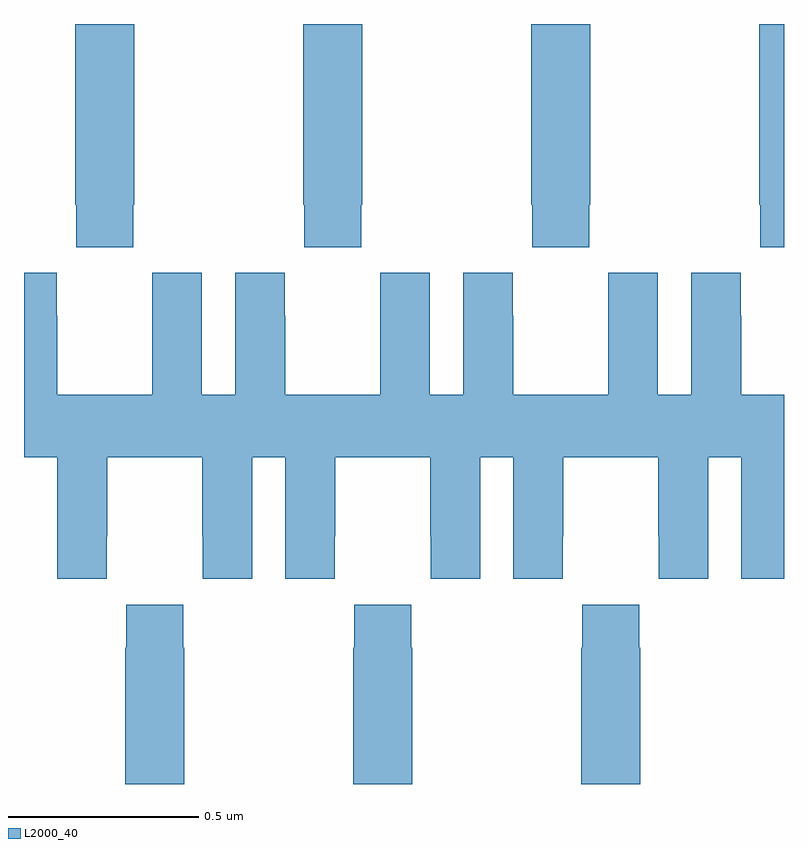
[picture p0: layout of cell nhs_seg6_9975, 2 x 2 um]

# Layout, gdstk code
import gdstk
lib = gdstk.Library(unit=1e-6, precision=1e-09)
def P(c, l, *ps):  # polygons
    for p in ps: c.add(gdstk.Polygon(p, *l))
L2000_40 = (2000, 40)

nhs_seg6_9975 = lib.new_cell('nhs_seg6_9975')
P(nhs_seg6_9975, L2000_40, [(241.287,924.025),(241.29,924.025),(241.29,924.5),(241.135,924.5),(241.135,924.025),(241.137,924.025),(241.137,923.913),(241.287,923.913)],
  [(243,924.5),(242.935,924.5),(242.935,924.025),(242.937,924.025),(242.937,923.913),(243,923.913)],
  [(242.487,924.025),(242.49,924.025),(242.49,924.5),(242.335,924.5),(242.335,924.025),(242.337,924.025),(242.337,923.913),(242.487,923.913)],
  [(241.887,924.025),(241.89,924.025),(241.89,924.5),(241.735,924.5),(241.735,924.025),(241.737,924.025),(241.737,923.913),(241.887,923.913)],
  [(241.218,923.152),(241.219,923.152),(241.219,923.36),(241.469,923.36),(241.469,923.152),(241.47,923.152),(241.47,923.04),(241.6,923.04),(241.6,923.36),(241.688,923.36),(241.688,923.04),(241.818,923.04),(241.818,923.152),(241.819,923.152),(241.819,923.36),(242.069,923.36),(242.069,923.152),(242.07,923.152),(242.07,923.04),(242.2,923.04),(242.2,923.36),(242.288,923.36),(242.288,923.04),(242.418,923.04),(242.418,923.152),(242.419,923.152),(242.419,923.36),(242.669,923.36),(242.669,923.152),(242.67,923.152),(242.67,923.04),(242.8,923.04),(242.8,923.36),(242.888,923.36),(242.888,923.04),(243,923.04),(243,923.524),(242.887,923.524),(242.887,923.732),(242.886,923.732),(242.886,923.845),(242.756,923.845),(242.756,923.524),(242.668,923.524),(242.668,923.845),(242.538,923.845),(242.538,923.732),(242.537,923.732),(242.537,923.524),(242.287,923.524),(242.287,923.732),(242.286,923.732),(242.286,923.845),(242.156,923.845),(242.156,923.524),(242.068,923.524),(242.068,923.845),(241.938,923.845),(241.938,923.732),(241.937,923.732),(241.937,923.524),(241.687,923.524),(241.687,923.732),(241.686,923.732),(241.686,923.845),(241.556,923.845),(241.556,923.524),(241.468,923.524),(241.468,923.845),(241.338,923.845),(241.338,923.732),(241.337,923.732),(241.337,923.524),(241.087,923.524),(241.087,923.732),(241.086,923.732),(241.086,923.845),(241,923.845),(241,923.36),(241.088,923.36),(241.088,923.04),(241.218,923.04)],
  [(242.622,922.859),(242.619,922.859),(242.619,922.972),(242.469,922.972),(242.469,922.859),(242.467,922.859),(242.467,922.5),(242.622,922.5)],
  [(242.022,922.859),(242.019,922.859),(242.019,922.972),(241.869,922.972),(241.869,922.859),(241.867,922.859),(241.867,922.5),(242.022,922.5)],
  [(241.269,922.972),(241.269,922.859),(241.267,922.859),(241.267,922.5),(241.422,922.5),(241.422,922.859),(241.419,922.859),(241.419,922.972)])

lib.write_gds('nhs_seg6_9975.gds')
